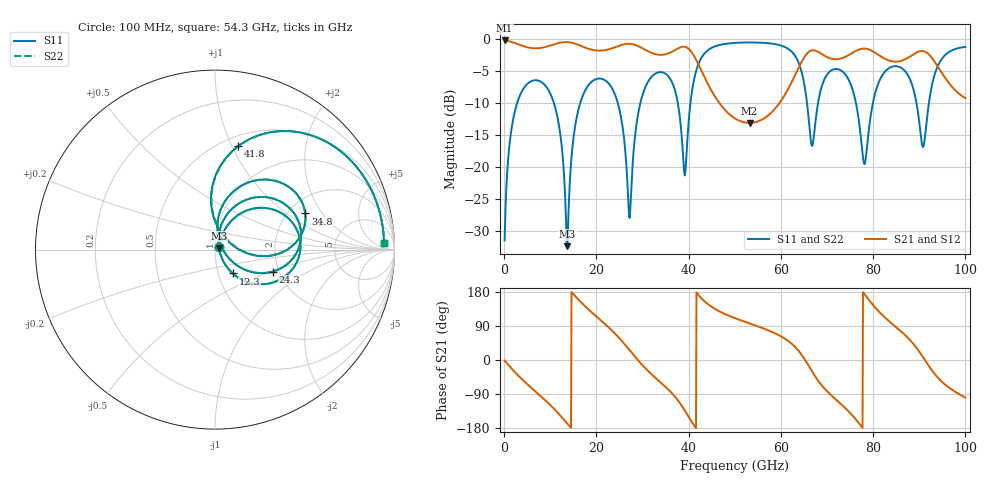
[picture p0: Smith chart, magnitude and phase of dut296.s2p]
! Touchstone file exported from HFSS 2026.1.0
!  File:  C:/ffzhzh/LocalFiles/Ansys_Project_Files/temp_train_TSV_RDL_296_1783681644_29156.aedt
!  Generated:  07:15:50 PM Jul 10, 2026
!  Design:  TSV_RDL
!  Project:  temp_train_TSV_RDL_296_1783681644_29156
! Variables:
!  h_bsmrdl = 2.4um
!  h_ox = 20um
!  h_rdl = 5um
!  h_sub = 53.83um
!  h_tmrdl = 4.74um
!  h_tsv = 53.83um
!  h_via = 3um
!  l_bsmrdl = 510.94um
!  l_sub = 4194.64um
!  l_tmrdl = 534.54um
!  m_sub = 200um
!  pitch = 41.83um
!  r_tsv = 8.77um
!  s_tmrdl = 10um
!  w_bsmrdl = 29.59um
!  w_sub = 500um
!  w_tmrdl = 11.63um
!  x_tsv_center1 = 540.355um
!  x_tsv_center2 = 1080.885um
!  x_tsv_center3 = 1627.055um
!  x_tsv_center4 = 2167.585um
!  x_tsv_center5 = 2713.755um
!  x_tsv_center6 = 3254.285um
# GHz S MA R 50.000000
! Terminal data exported
! Port[1] = TM_RDL1_1_T1
! Port[2] = TM_RDL5_1_T1
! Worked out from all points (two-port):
!   1000 points, 100 MHz to 100 GHz, reference 50 ohm
!   highest |S21| = -0.20 dB at 100 MHz (marker M1); lowest = -13.1 dB at 53.2 GHz (marker M2)
!   |S21| within 3 dB of the highest: start of sweep to 41.59 GHz; 64.77 GHz to 82.91 GHz (18.15 GHz wide, 24.6 % of centre) (the widest 2 of 3)
!   lowest |S11| = -32.5 dB at 13.7 GHz (marker M3), VSWR 1.05, Z = 52.2 + j0.978 ohm
!   |S11| at or under -10 dB: 10.78 GHz to 16.49 GHz (5.711 GHz wide, 41.9 % of centre); 24.64 GHz to 29.53 GHz (4.898 GHz wide, 18.1 % of centre); 76.27 GHz to 79.95 GHz (3.684 GHz wide, 4.72 % of centre) (the widest 3 of 7)
!   |S22| runs from -32.8 to -0.5 dB; largest |S21 - S12| = 2.1e-13
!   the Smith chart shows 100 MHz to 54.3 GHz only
!   S11 on the Smith chart (normalised r, x): 100 MHz: 1.05, +0.03; 12.3 GHz: 1.17, -0.32; 24.3 GHz: 1.87, -0.52; 34.8 GHz: 2.46, +1.40; 41.8 GHz: 0.60, +1.06; 54.3 GHz: 23, +15
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0.1  0.02647 30.9  0.9775 -1.5  0.9775 -1.5  0.02647 30.9
! Gamma 0 0 0 0
! Port Impedance 50 0 50 0
4.3  0.4152 30.3  0.8796 -55.8  0.8796 -55.8  0.4152 30.3
12.3  0.1657 -53.2  0.9411 -148.3  0.9411 -148.3  0.1656 -53.4
13.7  0.02383 23.1  0.9484 -167.8  0.9484 -167.8  0.02295 23.5
16.8  0.3417 56.0  0.8816 150.8  0.8816 150.8  0.3416 56.1
24.3  0.3462 -20.6  0.8721 66.5  0.8721 66.5  0.3462 -20.6
27.2  0.03969 28.9  0.9205 25.9  0.9205 25.9  0.03981 29.0
33.4  0.5493 35.2  0.7561 -53.4  0.7561 -53.4  0.5493 35.3
34.8  0.5415 21.8  0.7591 -68.6  0.7591 -68.6  0.5415 21.9
39.1  0.08629 33.8  0.8732 -132.0  0.8732 -132.0  0.08869 34.2
41.8  0.592 77.3  0.6692 176.9  0.6692 176.9  0.5926 77.0
50.1  0.9356 18.5  0.2386 110.1  0.2386 110.1  0.9357 18.4
53.2  0.9431 6.4  0.2206 96.6  0.2206 96.6  0.9431 6.3
54.3  0.9424 2.2  0.2227 91.9  0.2227 91.9  0.9424 2.1
63.2  0.7276 -47.5  0.5333 32.9  0.5333 32.9  0.7268 -47.9
66.7  0.1462 -30.8  0.8173 -29.0  0.8173 -29.0  0.1399 -31.0
71.7  0.5833 -13.1  0.6963 -101.8  0.6963 -101.8  0.5832 -12.9
77.2  0.1887 -50.0  0.8353 -171.3  0.8353 -171.3  0.1879 -50.3
83.4  0.5918 9.2  0.681 102.9  0.681 102.9  0.5917 9.5
90.9  0.144 9.5  0.8056 5.8  0.8056 5.8  0.1453 9.4
94  0.6143 31.4  0.6115 -46.2  0.6115 -46.2  0.614 31.4
100  0.8707 -11.9  0.3456 -99.3  0.3456 -99.3  0.8705 -11.9
